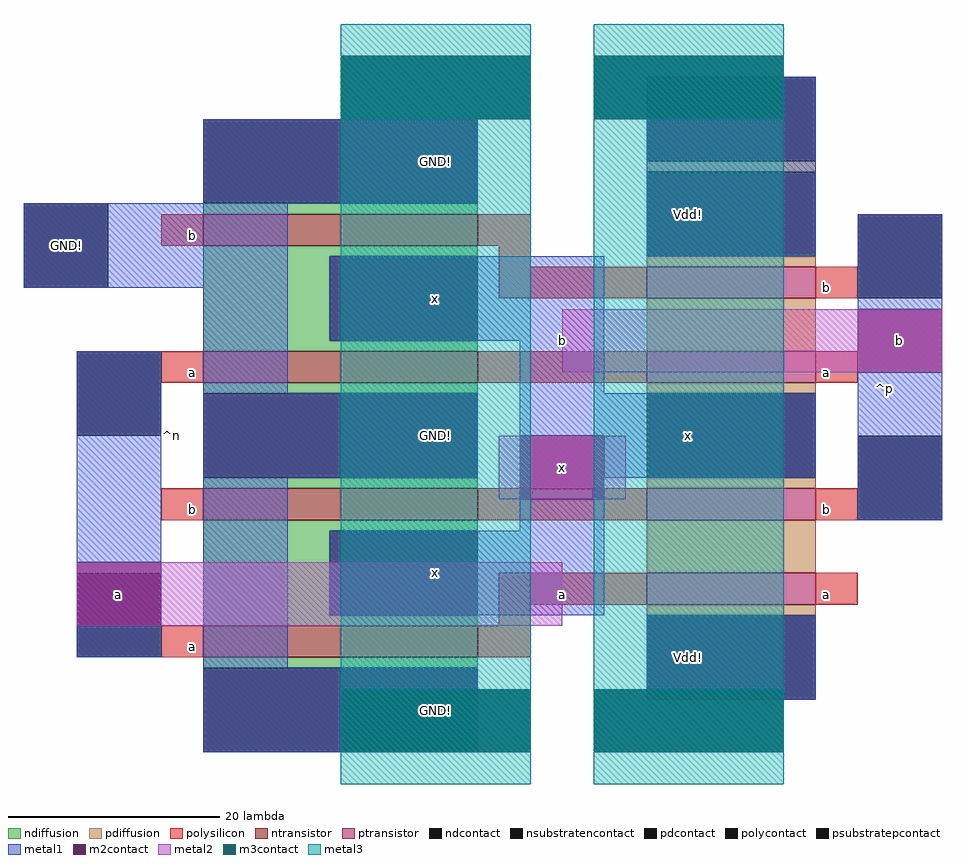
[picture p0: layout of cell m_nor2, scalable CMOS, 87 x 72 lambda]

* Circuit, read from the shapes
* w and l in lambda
.subckt m_nor2 GND! Vdd! a b x
M1 x a GND! GND! nfet w=26 l=3 m=2
M2 GND! b x GND! nfet w=26 l=3 m=2
M3 n1 a Vdd! Vdd! pfet w=16 l=3
M4 x b n1 Vdd! pfet w=16 l=3
M5 n2 a x Vdd! pfet w=16 l=3
M6 Vdd! b n2 Vdd! pfet w=16 l=3
.ends

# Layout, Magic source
magic
tech scmos
<< ndiffusion >>
rect -34 409 -8 410
rect -34 405 -8 406
rect -34 397 -22 405
rect -34 396 -8 397
rect -34 392 -8 393
rect -34 383 -8 384
rect -34 379 -8 380
rect -34 371 -22 379
rect -34 370 -8 371
rect -34 366 -8 367
<< pdiffusion >>
rect 8 413 24 414
rect 8 404 24 405
rect 8 396 24 401
rect 8 392 24 393
rect 8 383 24 384
rect 8 375 24 380
rect 8 371 24 372
<< ntransistor >>
rect -34 406 -8 409
rect -34 393 -8 396
rect -34 380 -8 383
rect -34 367 -8 370
<< ptransistor >>
rect 8 401 24 404
rect 8 393 24 396
rect 8 380 24 383
rect 8 372 24 375
<< polysilicon >>
rect -38 406 -34 409
rect -8 406 -3 409
rect -6 404 -3 406
rect -6 401 8 404
rect 24 401 28 404
rect -38 393 -34 396
rect -8 393 8 396
rect 24 393 28 396
rect -38 380 -34 383
rect -8 380 8 383
rect 24 380 28 383
rect -6 372 8 375
rect 24 372 28 375
rect -6 370 -3 372
rect -38 367 -34 370
rect -8 367 -3 370
<< ndcontact >>
rect -34 410 -8 418
rect -22 397 -8 405
rect -34 384 -8 392
rect -22 371 -8 379
rect -34 358 -8 366
<< pdcontact >>
rect 8 405 24 413
rect 8 384 24 392
rect 8 363 24 371
<< psubstratepcontact >>
rect -51 402 -43 410
<< nsubstratencontact >>
rect 8 414 24 422
<< polycontact >>
rect 28 401 36 409
rect -46 388 -38 396
rect 28 380 36 388
rect -46 367 -38 375
<< metal1 >>
rect 21 418 24 422
rect -34 410 -8 418
rect -51 402 -26 410
rect 8 405 24 418
rect -46 376 -38 396
rect -46 367 -38 370
rect -34 392 -26 402
rect -22 397 4 405
rect -4 392 4 397
rect 28 400 36 409
rect -34 384 -8 392
rect -4 388 24 392
rect -34 366 -26 384
rect 4 384 24 388
rect -4 379 4 382
rect 28 380 36 394
rect -22 371 4 379
rect -34 364 -8 366
rect 8 364 24 371
rect -34 358 -21 364
rect 21 363 24 364
<< m2contact >>
rect -21 418 -3 424
rect 3 418 21 424
rect -46 370 -38 376
rect 28 394 36 400
rect -4 382 4 388
rect -21 358 -3 364
rect 3 358 21 364
<< metal2 >>
rect 0 394 36 400
rect -6 382 6 388
rect -46 370 0 376
<< m3contact >>
rect -21 418 -3 424
rect 3 418 21 424
rect -21 358 -3 364
rect 3 358 21 364
<< metal3 >>
rect -21 355 -3 427
rect 3 355 21 427
<< labels >>
rlabel metal1 -12 401 -12 401 1 x
rlabel metal1 -12 375 -12 375 5 x
rlabel metal1 12 388 12 388 5 x
rlabel metal1 12 367 12 367 1 Vdd!
rlabel metal1 12 409 12 409 1 Vdd!
rlabel metal1 -12 414 -12 414 5 GND!
rlabel metal1 -12 388 -12 388 1 GND!
rlabel m2contact -12 362 -12 362 1 GND!
rlabel polysilicon -35 407 -35 407 1 b
rlabel polysilicon -35 394 -35 394 1 a
rlabel polysilicon -35 368 -35 368 1 a
rlabel polysilicon -35 381 -35 381 1 b
rlabel polysilicon 25 394 25 394 7 a
rlabel polysilicon 25 402 25 402 7 b
rlabel polysilicon 25 381 25 381 7 b
rlabel polysilicon 25 373 25 373 7 a
rlabel metal2 0 370 0 376 7 a
rlabel metal2 0 385 0 385 1 x
rlabel metal2 0 394 0 400 3 b
rlabel metal1 -47 406 -47 406 3 GND!
rlabel space -52 357 -22 419 7 ^n
rlabel space 24 363 37 422 3 ^p
rlabel metal2 -42 373 -42 373 1 a
rlabel metal2 32 397 32 397 7 b
<< end >>
